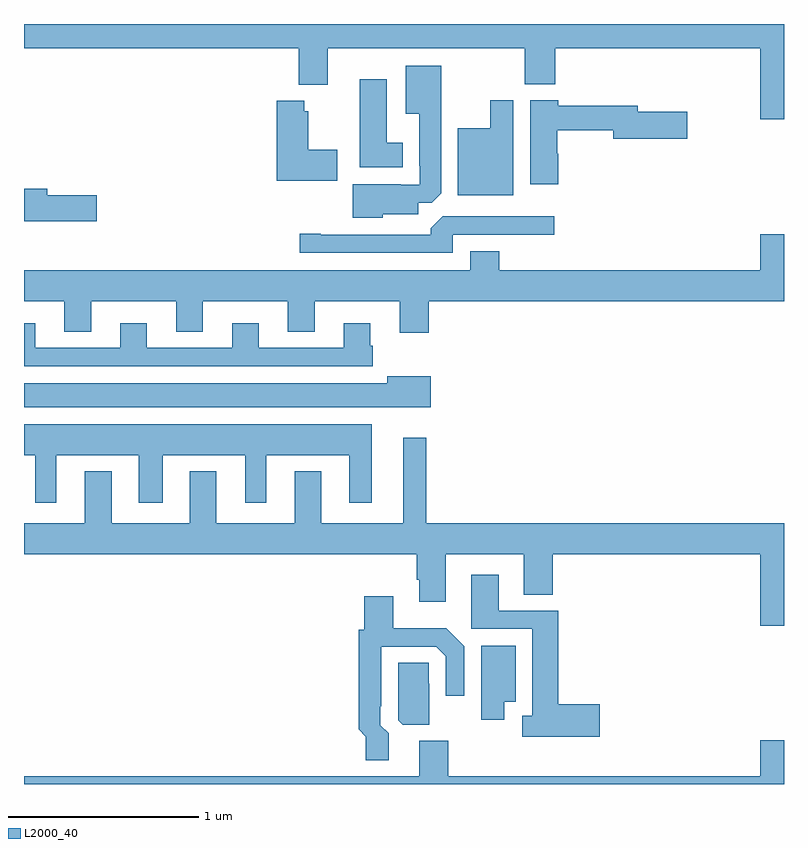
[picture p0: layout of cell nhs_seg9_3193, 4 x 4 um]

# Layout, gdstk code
import gdstk
lib = gdstk.Library(unit=1e-6, precision=1e-09)
def P(c, l, *ps):  # polygons
    for p in ps: c.add(gdstk.Polygon(p, *l))
L2000_40 = (2000, 40)

nhs_seg9_3193 = lib.new_cell('nhs_seg9_3193')
P(nhs_seg9_3193, L2000_40, [(297,1244.5),(293,1244.5),(293,1244.372),(294.446,1244.372),(294.446,1244.18),(294.598,1244.18),(294.598,1244.372),(295.636,1244.372),(295.636,1244.183),(295.796,1244.183),(295.796,1244.372),(296.876,1244.372),(296.876,1243.998),(297,1243.998)],
  [(294.888,1243.499),(295.075,1243.499),(295.075,1243.56),(295.146,1243.56),(295.195,1243.609),(295.195,1244.281),(295.01,1244.281),(295.01,1244.027),(295.079,1244.027),(295.079,1243.753),(295.083,1243.753),(295.083,1243.653),(294.983,1243.653),(294.983,1243.657),(294.731,1243.657),(294.731,1243.481),(294.888,1243.481)],
  [(294.994,1243.876),(294.91,1243.876),(294.91,1244.209),(294.767,1244.209),(294.767,1243.745),(294.994,1243.745)],
  [(295.811,1243.817),(295.806,1243.817),(295.806,1243.942),(296.102,1243.942),(296.102,1243.895),(296.491,1243.895),(296.491,1244.037),(296.23,1244.037),(296.23,1244.071),(295.811,1244.071),(295.811,1244.098),(295.664,1244.098),(295.664,1243.656),(295.811,1243.656)],
  [(295.576,1244.098),(295.454,1244.098),(295.454,1243.951),(295.283,1243.951),(295.283,1243.598),(295.576,1243.598)],
  [(294.649,1243.839),(294.496,1243.839),(294.496,1244.041),(294.474,1244.041),(294.474,1244.095),(294.329,1244.095),(294.329,1243.676),(294.649,1243.676)],
  [(293.383,1243.598),(293.122,1243.598),(293.122,1243.634),(293,1243.634),(293,1243.463),(293.383,1243.463)],
  [(295.257,1243.392),(295.792,1243.392),(295.792,1243.488),(295.203,1243.488),(295.142,1243.426),(295.142,1243.392),(294.562,1243.392),(294.562,1243.397),(294.45,1243.397),(294.45,1243.296),(295.257,1243.296)],
  [(295.13,1243.04),(297,1243.04),(297,1243.393),(296.876,1243.393),(296.876,1243.204),(295.502,1243.204),(295.502,1243.303),(295.349,1243.303),(295.349,1243.204),(293,1243.204),(293,1243.04),(293.213,1243.04),(293.213,1242.88),(293.353,1242.88),(293.353,1243.04),(293.801,1243.04),(293.801,1242.88),(293.941,1242.88),(293.941,1243.04),(294.389,1243.04),(294.389,1242.88),(294.529,1242.88),(294.529,1243.04),(294.977,1243.04),(294.977,1242.876),(295.13,1242.876)],
  [(294.836,1242.807),(294.823,1242.807),(294.823,1242.925),(294.683,1242.925),(294.683,1242.795),(294.235,1242.795),(294.235,1242.925),(294.095,1242.925),(294.095,1242.795),(293.647,1242.795),(293.647,1242.925),(293.507,1242.925),(293.507,1242.795),(293.059,1242.795),(293.059,1242.925),(293,1242.925),(293,1242.699),(294.836,1242.699)],
  [(295.141,1242.646),(294.911,1242.646),(294.911,1242.61),(293,1242.61),(293,1242.482),(295.141,1242.482)],
  [(293.17,1242.23),(293.603,1242.23),(293.603,1241.979),(293.731,1241.979),(293.731,1242.23),(294.164,1242.23),(294.164,1241.979),(294.274,1241.979),(294.274,1242.23),(294.713,1242.23),(294.713,1241.979),(294.829,1241.979),(294.829,1242.394),(293,1242.394),(293,1242.23),(293.06,1242.23),(293.06,1241.979),(293.17,1241.979)],
  [(297,1241.872),(295.117,1241.872),(295.117,1242.322),(294.995,1242.322),(294.995,1241.872),(294.565,1241.872),(294.565,1242.145),(294.425,1242.145),(294.425,1241.872),(294.013,1241.872),(294.013,1242.145),(293.873,1242.145),(293.873,1241.872),(293.461,1241.872),(293.461,1242.145),(293.321,1242.145),(293.321,1241.872),(293,1241.872),(293,1241.708),(295.067,1241.708),(295.067,1241.575),(295.079,1241.575),(295.079,1241.46),(295.219,1241.46),(295.219,1241.708),(295.631,1241.708),(295.631,1241.497),(295.784,1241.497),(295.784,1241.708),(296.876,1241.708),(296.876,1241.334),(297,1241.334)],
  [(296.029,1240.919),(295.811,1240.919),(295.811,1241.412),(295.498,1241.412),(295.498,1241.602),(295.355,1241.602),(295.355,1241.316),(295.676,1241.316),(295.676,1240.858),(295.623,1240.858),(295.623,1240.749),(296.029,1240.749)],
  [(294.919,1240.766),(294.876,1240.809),(294.876,1240.909),(294.879,1240.909),(294.879,1241.223),(295.17,1241.223),(295.221,1241.172),(295.221,1240.965),(295.317,1240.965),(295.317,1241.226),(295.223,1241.32),(294.943,1241.32),(294.943,1241.488),(294.791,1241.488),(294.791,1241.313),(294.763,1241.313),(294.763,1240.97),(294.761,1240.97),(294.761,1240.788),(294.799,1240.749),(294.799,1240.626),(294.919,1240.626)],
  [(295.528,1240.934),(295.588,1240.934),(295.588,1241.227),(295.406,1241.227),(295.406,1240.839),(295.528,1240.839)],
  [(295.132,1241.027),(295.131,1241.027),(295.131,1241.138),(294.969,1241.138),(294.969,1240.836),(294.993,1240.813),(295.132,1240.813)],
  [(297,1240.729),(296.876,1240.729),(296.876,1240.54),(295.232,1240.54),(295.232,1240.728),(295.079,1240.728),(295.079,1240.54),(293,1240.54),(293,1240.5),(297,1240.5)])

lib.write_gds('nhs_seg9_3193.gds')
